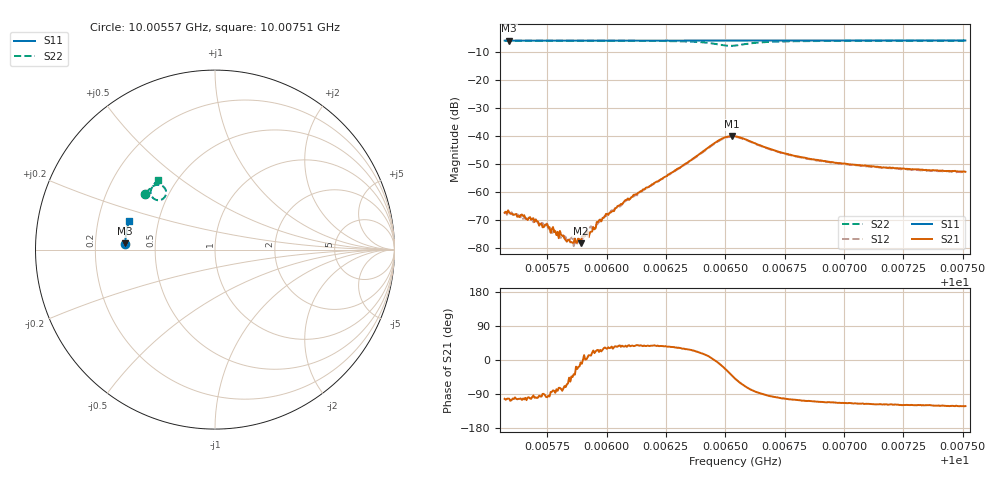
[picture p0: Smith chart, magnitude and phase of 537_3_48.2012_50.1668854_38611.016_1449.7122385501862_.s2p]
#  HZ  S  RI  R  50.00
! Rohde & Schwarz Vector Network Analyzer
! Rohde-Schwarz,ZNB20-2Port,1311601062101988,3.16
! Created: UTC 3/20/2024, 12:00:08 PM
! freq[Hz]  re:S11  im:S11  re:S21  im:S21  re:S12  im:S12  re:S22  im:S22
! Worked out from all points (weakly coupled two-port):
!   401 points, 10.00557 GHz to 10.00751 GHz, reference 50 ohm
!   highest |S21| = -40.02 dB at 10.00653 GHz (marker M1); lowest = -78.2 dB at 10.00589 GHz (marker M2)
!   lowest |S11| = -6.0 dB at 10.00559 GHz (marker M3), VSWR 3.01, Z = 16.6 + j1.55 ohm
!   |S11| at or under -10 dB: nowhere
!   |S22| runs from -7.9 to -6.0 dB; largest |S21 - S12| = 0.00067
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1.0005571e10  -0.5001 0.0336  -9.3e-05 -0.000419  -6.76e-05 -0.00043  -0.3877 0.3104
1.000559e10  -0.5 0.035  -9.22e-05 -0.000428  -8.38e-05 -0.000418  -0.3869 0.3116
1.0005682e10  -0.4999 0.0409  -6.96e-05 -0.000316  -1.22e-05 -0.000337  -0.3827 0.3172
1.000575e10  -0.4995 0.0454  -3.77e-05 -0.000269  1.89e-06 -0.000256  -0.3793 0.3213
1.0005765e10  -0.4995 0.0463  1.79e-05 -0.000189  5.24e-05 -0.000199  -0.3786 0.3222
1.0005838e10  -0.4992 0.0512  6.69e-05 -0.000124  8.15e-05 -0.000103  -0.375 0.3266
1.0005872e10  -0.499 0.0534  0.000121 -3.83e-05  0.000119 -6e-05  -0.373 0.3287
1.0005891e10  -0.4989 0.0545  0.000122 -1.37e-05  0.000147 -1.54e-05  -0.3721 0.3299
1.0005896e10  -0.499 0.0548  0.000158 -2.72e-05  0.000138 -1.12e-05  -0.3718 0.3303
1.000591e10  -0.499 0.0557  0.000165 3.5e-06  0.000175 3e-06  -0.371 0.3313
1.0005935e10  -0.4987 0.0572  0.000194 4.08e-05  0.000234 8.04e-05  -0.3695 0.3328
1.0005969e10  -0.4985 0.0596  0.000295 0.000115  0.000256 0.000153  -0.3672 0.335
1.0006027e10  -0.4982 0.0634  0.000399 0.000229  0.000388 0.000272  -0.3634 0.3391
1.000608e10  -0.4978 0.0667  0.000572 0.000443  0.000542 0.000435  -0.3594 0.3429
1.0006221e10  -0.4966 0.0759  0.0013 0.00096  0.00122 0.00104  -0.3452 0.3532
1.0006473e10  -0.4938 0.092  0.0083 -0.00129  0.00815 -0.000771  -0.2736 0.3286
1.0006527e10  -0.4932 0.0949  0.00762 -0.00643  0.00785 -0.00582  -0.2886 0.2839
1.0006541e10  -0.493 0.0958  0.00648 -0.00744  0.00681 -0.00691  -0.3006 0.2771
1.0006735e10  -0.4917 0.1081  -0.000926 -0.00503  -0.000681 -0.00498  -0.3579 0.3255
1.0006866e10  -0.4902 0.1167  -0.00124 -0.00365  -0.00105 -0.0036  -0.352 0.3454
1.0007192e10  -0.4856 0.137  -0.00127 -0.00244  -0.00111 -0.00244  -0.334 0.3714
1.0007512e10  -0.4802 0.157  -0.00121 -0.00197  -0.00111 -0.002  -0.3169 0.3891
